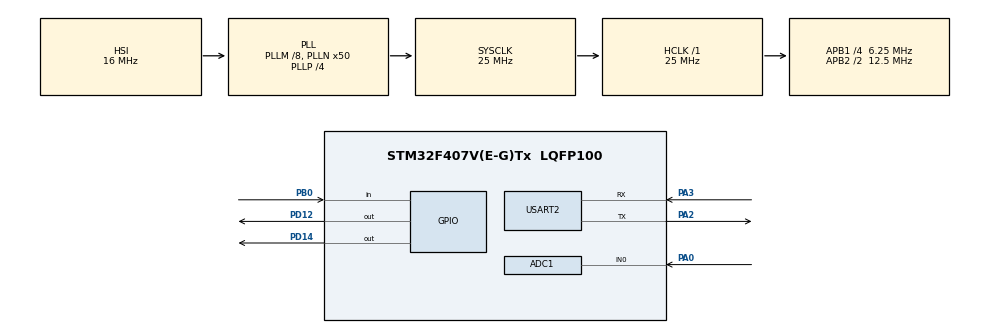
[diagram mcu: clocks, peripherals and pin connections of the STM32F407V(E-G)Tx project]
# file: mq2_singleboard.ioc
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ADC1.Channel-0\#ChannelRegularConversion=ADC_CHANNEL_0
ADC1.NbrOfConversionFlag=1
ADC1.Rank-0\#ChannelRegularConversion=1
ADC1.SamplingTime-0\#ChannelRegularConversion=ADC_SAMPLETIME_3CYCLES
ADC1.master=1
Mcu.Family=STM32F4
Mcu.Name=STM32F407V(E-G)Tx
Mcu.Package=LQFP100
NVIC.PriorityGroup=NVIC_PRIORITYGROUP_0
PA0-WKUP.Signal=ADCx_IN0
PA2.Mode=Asynchronous
PA2.Signal=USART2_TX
PA3.Mode=Asynchronous
PA3.Signal=USART2_RX
PB0.Signal=GPIO_Input
PD12.Signal=GPIO_Output
PD14.Signal=GPIO_Output
ProjectManager.HeapSize=0x200
ProjectManager.StackSize=0x400
ProjectManager.TargetToolchain=STM32CubeIDE
RCC.48MHZClocksFreq_Value=14285714.285714285
RCC.AHBFreq_Value=25000000
RCC.APB1CLKDivider=RCC_HCLK_DIV4
RCC.APB1Freq_Value=6250000
RCC.APB1TimFreq_Value=12500000
RCC.APB2CLKDivider=RCC_HCLK_DIV2
RCC.APB2Freq_Value=12500000
RCC.APB2TimFreq_Value=25000000
RCC.CortexFreq_Value=25000000
RCC.HCLKFreq_Value=25000000
RCC.HSE_VALUE=8000000
RCC.HSI_VALUE=16000000
RCC.LSE_VALUE=32768
RCC.PLLM=8
RCC.PLLN=50
RCC.PLLP=RCC_PLLP_DIV4
RCC.PLLQ=7
RCC.SYSCLKFreq_VALUE=25000000
RCC.SYSCLKSource=RCC_SYSCLKSOURCE_PLLCLK
RCC.VCOOutputFreq_Value=100000000
SH.ADCx_IN0.0=ADC1_IN0,IN0
USART2.VirtualMode=VM_ASYNC
board=STM32F407G-DISC1

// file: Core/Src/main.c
/* USER CODE BEGIN Header */
/**
  ******************************************************************************
  * @file           : main.c
  * @brief          : Main program body
  ******************************************************************************
  * @attention
  *
  * Copyright (c) 2026 STMicroelectronics.
  * All rights reserved.
  *
  * This software is licensed under terms that can be found in the LICENSE file
  * in the root directory of this software component.
  * If no LICENSE file comes with this software, it is provided AS-IS.
  *
  ******************************************************************************
  */
/* USER CODE END Header */
#include "main.h"

#include <stdio.h>
#include <string.h>

/* USER CODE BEGIN PD */
#define MQ2_PORT        GPIOB
#define MQ2_PIN         GPIO_PIN_0

#define GREEN_LED_PORT  GPIOD
#define GREEN_LED_PIN   GPIO_PIN_12

#define RED_LED_PORT    GPIOD
#define RED_LED_PIN     GPIO_PIN_14

#define GAS_THRESHOLD   3200

/* USER CODE END PD */

ADC_HandleTypeDef hadc1;

UART_HandleTypeDef huart2;

/* USER CODE BEGIN PV */
char TxBuffer[64];
/* USER CODE END PV */

void SystemClock_Config(void);
static void MX_GPIO_Init(void);
static void MX_USART2_UART_Init(void);
static void MX_ADC1_Init(void);

/* USER CODE BEGIN 0 */
static uint16_t MQ2_ReadAnalog(void)
{
    uint16_t raw = 0;
    HAL_ADC_Start(&hadc1);
    if (HAL_ADC_PollForConversion(&hadc1, 10) == HAL_OK)
    {
        raw = (uint16_t)HAL_ADC_GetValue(&hadc1);
    }
    HAL_ADC_Stop(&hadc1);
    return raw;
}
/* USER CODE END 0 */

int main(void)
{

  /* MCU Configuration--------------------------------------------------------*/

  /* Reset of all peripherals, Initializes the Flash interface and the Systick. */
  HAL_Init();

  /* Configure the system clock */
  SystemClock_Config();

  /* Initialize all configured peripherals */
  MX_GPIO_Init();
  MX_USART2_UART_Init();
  MX_ADC1_Init();
  /* USER CODE BEGIN 2 */
  sprintf(TxBuffer, "\r\n===== MQ2 ANALOG+DIGITAL TEST STARTED =====\r\n");
  HAL_UART_Transmit(&huart2, (uint8_t *)TxBuffer, strlen(TxBuffer), HAL_MAX_DELAY);
  /* USER CODE END 2 */

  /* Infinite loop */
  while (1)
  {

	      uint16_t adc = MQ2_ReadAnalog();

	      GPIO_PinState gas = HAL_GPIO_ReadPin(MQ2_PORT, MQ2_PIN);

	      /* Unsafe if:
	         1. Analog value exceeds threshold
	         OR
	         2. Digital output goes LOW
	      */
	      if((adc > GAS_THRESHOLD) || (gas == GPIO_PIN_RESET))
	      {
	          /* RED LED ON */
	          HAL_GPIO_WritePin(RED_LED_PORT, RED_LED_PIN, GPIO_PIN_SET);

	          /* GREEN LED OFF */
	          HAL_GPIO_WritePin(GREEN_LED_PORT, GREEN_LED_PIN, GPIO_PIN_RESET);

	          sprintf(TxBuffer,
	                  "UNSAFE | RAW:%u | DO:%d\r\n",
	                  adc,
	                  gas);
	      }
	      else
	      {
	          /* GREEN LED ON */
	          HAL_GPIO_WritePin(GREEN_LED_PORT, GREEN_LED_PIN, GPIO_PIN_SET);

	          /* RED LED OFF */
	          HAL_GPIO_WritePin(RED_LED_PORT, RED_LED_PIN, GPIO_PIN_RESET);

	          sprintf(TxBuffer,
	                  "SAFE   | RAW:%u | DO:%d\r\n",
	                  adc,
	                  gas);
	      }

	      HAL_UART_Transmit(&huart2,
	                        (uint8_t *)TxBuffer,
	                        strlen(TxBuffer),
	                        HAL_MAX_DELAY);

	      HAL_Delay(500);

  }
}

void SystemClock_Config(void)
{
  RCC_OscInitTypeDef RCC_OscInitStruct = {0};
  RCC_ClkInitTypeDef RCC_ClkInitStruct = {0};

  /** Configure the main internal regulator output voltage
  */
  __HAL_RCC_PWR_CLK_ENABLE();
  __HAL_PWR_VOLTAGESCALING_CONFIG(PWR_REGULATOR_VOLTAGE_SCALE1);

  /** Initializes the RCC Oscillators according to the specified parameters
  * in the RCC_OscInitTypeDef structure.
  */
  RCC_OscInitStruct.OscillatorType = RCC_OSCILLATORTYPE_HSI;
  RCC_OscInitStruct.HSIState = RCC_HSI_ON;
  RCC_OscInitStruct.HSICalibrationValue = RCC_HSICALIBRATION_DEFAULT;
  RCC_OscInitStruct.PLL.PLLState = RCC_PLL_ON;
  RCC_OscInitStruct.PLL.PLLSource = RCC_PLLSOURCE_HSI;
  RCC_OscInitStruct.PLL.PLLM = 8;
  RCC_OscInitStruct.PLL.PLLN = 50;
  RCC_OscInitStruct.PLL.PLLP = RCC_PLLP_DIV4;
  RCC_OscInitStruct.PLL.PLLQ = 7;
  if (HAL_RCC_OscConfig(&RCC_OscInitStruct) != HAL_OK)
  {
    Error_Handler();
  }

  /** Initializes the CPU, AHB and APB buses clocks
  */
  RCC_ClkInitStruct.ClockType = RCC_CLOCKTYPE_HCLK|RCC_CLOCKTYPE_SYSCLK
                              |RCC_CLOCKTYPE_PCLK1|RCC_CLOCKTYPE_PCLK2;
  RCC_ClkInitStruct.SYSCLKSource = RCC_SYSCLKSOURCE_PLLCLK;
  RCC_ClkInitStruct.AHBCLKDivider = RCC_SYSCLK_DIV1;
  RCC_ClkInitStruct.APB1CLKDivider = RCC_HCLK_DIV4;
  RCC_ClkInitStruct.APB2CLKDivider = RCC_HCLK_DIV2;

  if (HAL_RCC_ClockConfig(&RCC_ClkInitStruct, FLASH_LATENCY_0) != HAL_OK)
  {
    Error_Handler();
  }
}

static void MX_ADC1_Init(void)
{

  ADC_ChannelConfTypeDef sConfig = {0};

  /** Configure the global features of the ADC (Clock, Resolution, Data Alignment and number of conversion)
  */
  hadc1.Instance = ADC1;
  hadc1.Init.ClockPrescaler = ADC_CLOCK_SYNC_PCLK_DIV2;
  hadc1.Init.Resolution = ADC_RESOLUTION_12B;
  hadc1.Init.ScanConvMode = DISABLE;
  hadc1.Init.ContinuousConvMode = DISABLE;
  hadc1.Init.DiscontinuousConvMode = DISABLE;
  hadc1.Init.ExternalTrigConvEdge = ADC_EXTERNALTRIGCONVEDGE_NONE;
  hadc1.Init.ExternalTrigConv = ADC_SOFTWARE_START;
  hadc1.Init.DataAlign = ADC_DATAALIGN_RIGHT;
  hadc1.Init.NbrOfConversion = 1;
  hadc1.Init.DMAContinuousRequests = DISABLE;
  hadc1.Init.EOCSelection = ADC_EOC_SINGLE_CONV;
  if (HAL_ADC_Init(&hadc1) != HAL_OK)
  {
    Error_Handler();
  }

  /** Configure for the selected ADC regular channel its corresponding rank in the sequencer and its sample time.
  */
  sConfig.Channel = ADC_CHANNEL_0;
  sConfig.Rank = 1;
  sConfig.SamplingTime = ADC_SAMPLETIME_3CYCLES;
  if (HAL_ADC_ConfigChannel(&hadc1, &sConfig) != HAL_OK)
  {
    Error_Handler();
  }

}

static void MX_USART2_UART_Init(void)
{

  huart2.Instance = USART2;
  huart2.Init.BaudRate = 115200;
  huart2.Init.WordLength = UART_WORDLENGTH_8B;
  huart2.Init.StopBits = UART_STOPBITS_1;
  huart2.Init.Parity = UART_PARITY_NONE;
  huart2.Init.Mode = UART_MODE_TX_RX;
  huart2.Init.HwFlowCtl = UART_HWCONTROL_NONE;
  huart2.Init.OverSampling = UART_OVERSAMPLING_16;
  if (HAL_UART_Init(&huart2) != HAL_OK)
  {
    Error_Handler();
  }

}

static void MX_GPIO_Init(void)
{
  GPIO_InitTypeDef GPIO_InitStruct = {0};

  /* GPIO Ports Clock Enable */
  __HAL_RCC_GPIOA_CLK_ENABLE();
  __HAL_RCC_GPIOB_CLK_ENABLE();
  __HAL_RCC_GPIOD_CLK_ENABLE();

  /*Configure GPIO pin Output Level */
  HAL_GPIO_WritePin(GPIOD, GPIO_PIN_12|GPIO_PIN_14, GPIO_PIN_RESET);

  /*Configure GPIO pin : PB0 */
  GPIO_InitStruct.Pin = GPIO_PIN_0;
  GPIO_InitStruct.Mode = GPIO_MODE_INPUT;
  GPIO_InitStruct.Pull = GPIO_NOPULL;
  HAL_GPIO_Init(GPIOB, &GPIO_InitStruct);

  /*Configure GPIO pins : PD12 PD14 */
  GPIO_InitStruct.Pin = GPIO_PIN_12|GPIO_PIN_14;
  GPIO_InitStruct.Mode = GPIO_MODE_OUTPUT_PP;
  GPIO_InitStruct.Pull = GPIO_NOPULL;
  GPIO_InitStruct.Speed = GPIO_SPEED_FREQ_LOW;
  HAL_GPIO_Init(GPIOD, &GPIO_InitStruct);

}

void Error_Handler(void)
{
  __disable_irq();
  while (1)
  {
  }
}
